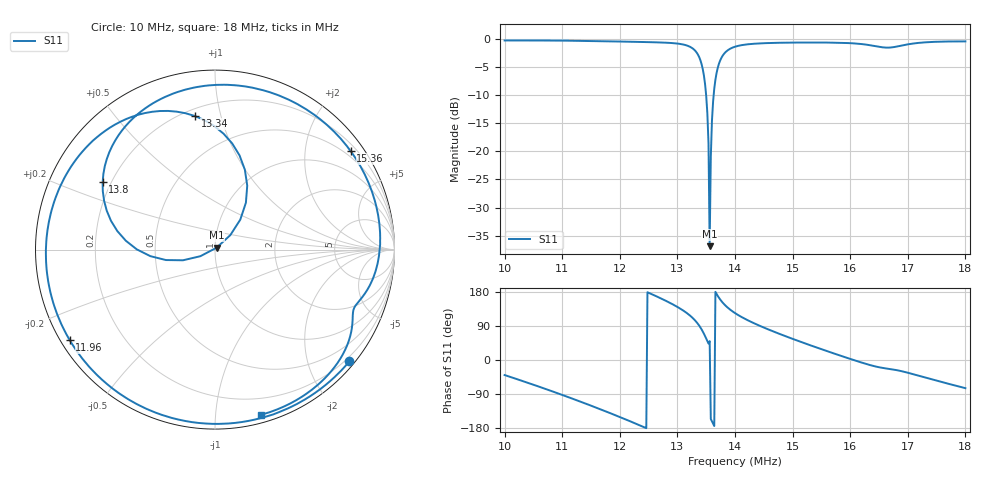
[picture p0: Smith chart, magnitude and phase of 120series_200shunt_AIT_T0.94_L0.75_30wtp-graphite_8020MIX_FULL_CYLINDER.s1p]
! NanoVNA Web complex sweep
! Processing: original sample grid, no browser smoothing
# Hz S RI R 50
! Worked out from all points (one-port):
!   401 points, 10 MHz to 18 MHz, reference 50 ohm
!   lowest |S11| = -36.9 dB at 13.56 MHz (marker M1), VSWR 1.03, Z = 50.9 + j1.11 ohm
!   |S11| at or under -10 dB: 13.5 MHz to 13.63 MHz (130.4 kHz wide, 0.961 % of centre)
!   S11 on the Smith chart (normalised r, x): 10 MHz: 0.11, -2.76; 11.96 MHz: 0.03, -0.29; 13.34 MHz: 0.24, +0.83; 13.8 MHz: 0.17, +0.27; 15.36 MHz: 0.35, +3.04; 18 MHz: 0.06, -1.32
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1e7  0.7487 -0.6231
1.056e7  0.3584 -0.9048
1.1e7  -0.0361 -0.97
1.146e7  -0.4551 -0.8501
1.196e7  -0.8088 -0.5056
1.2e7  -0.829 -0.4699
1.254e7  -0.9358 0.0868
1.3e7  -0.7003 0.5872
1.322e7  -0.3893 0.761
1.334e7  -0.1115 0.7441
1.346e7  0.1663 0.4453
1.35e7  0.1722 0.2613
1.352e7  0.1409 0.1669
1.356e7  0.00925 0.0109
1.36e7  -0.1783 -0.0595
1.362e7  -0.2735 -0.0582
1.366e7  -0.4355 0.00109
1.372e7  -0.5795 0.1602
1.38e7  -0.626 0.3755
1.4e7  -0.4767 0.7117
1.442e7  -0.014 0.9164
1.5e7  0.5242 0.7709
1.536e7  0.7557 0.5493
1.6e7  0.9198 0.0477
1.638e7  0.8483 -0.2244
1.7e7  0.749 -0.4975
1.75e7  0.5507 -0.7721
1.8e7  0.2583 -0.9198
